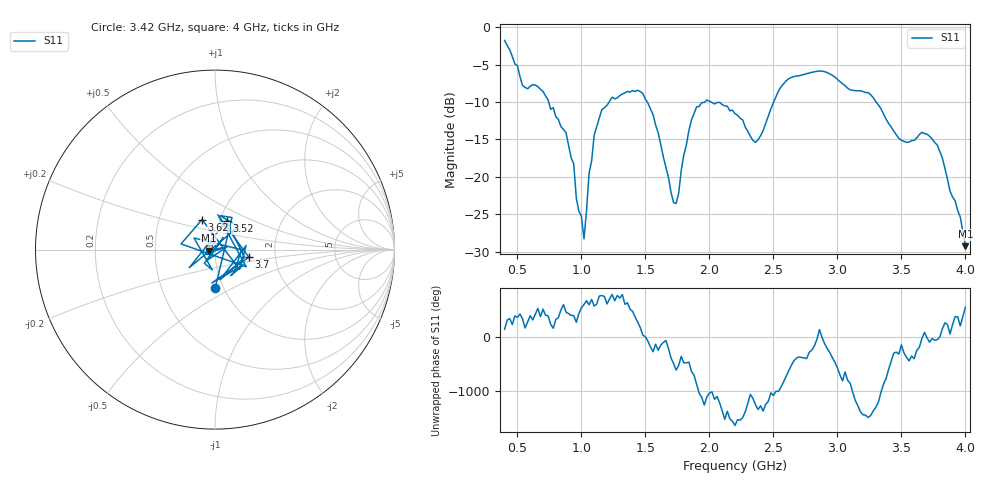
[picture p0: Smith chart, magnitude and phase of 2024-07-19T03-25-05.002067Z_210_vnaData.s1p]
!Created with skrf (http://scikit-rf.org).
# Hz S RI R 50.0
!freq ReS11 ImS11
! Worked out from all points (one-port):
!   181 points, 400 MHz to 4 GHz, reference 50 ohm
!   lowest |S11| = -29.3 dB at 4 GHz (marker M1), VSWR 1.07, Z = 46.7 - j0.537 ohm
!   |S11| at or under -10 dB: 744.5 MHz to 1.216 GHz (471.8 MHz wide, 48.1 % of centre); 2.015 GHz to 2.502 GHz (487 MHz wide, 21.6 % of centre); 3.303 GHz to end of sweep (the widest 3 of 4)
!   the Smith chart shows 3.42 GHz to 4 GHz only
!   S11 on the Smith chart (normalised r, x): 3.42 GHz: 0.91, -0.41; 3.52 GHz: 1.08, +0.36; 3.62 GHz: 0.82, +0.28; 3.7 GHz: 1.46, -0.13; 4 GHz: 0.93, -0.01
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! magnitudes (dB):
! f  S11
! 400 MHz  -1.8
! 540 MHz  -7.8
! 700 MHz  -8.6
! 860 MHz  -13.7
! 940 MHz  -18.3
! 960 MHz  -22.8
! 1.02 GHz  -28.3
! 1.06 GHz  -19.5
! 1.1 GHz  -14.4
! 1.16 GHz  -11.0
! 1.3 GHz  -9.1
! 1.48 GHz  -8.9
! 1.6 GHz  -14.1
! 1.72 GHz  -23.4
! 1.76 GHz  -22.2
! 1.9 GHz  -10.6
! 2.2 GHz  -11.5
! 2.36 GHz  -15.4
! 2.66 GHz  -6.6
! 3.1 GHz  -8.4
! 3.26 GHz  -9.0
! 3.42 GHz  -13.3
! 3.52 GHz  -15.3
! 3.56 GHz  -15.3
! 3.62 GHz  -14.8
! 3.7 GHz  -14.3
! 3.82 GHz  -17.5
! 4 GHz  -29.3
